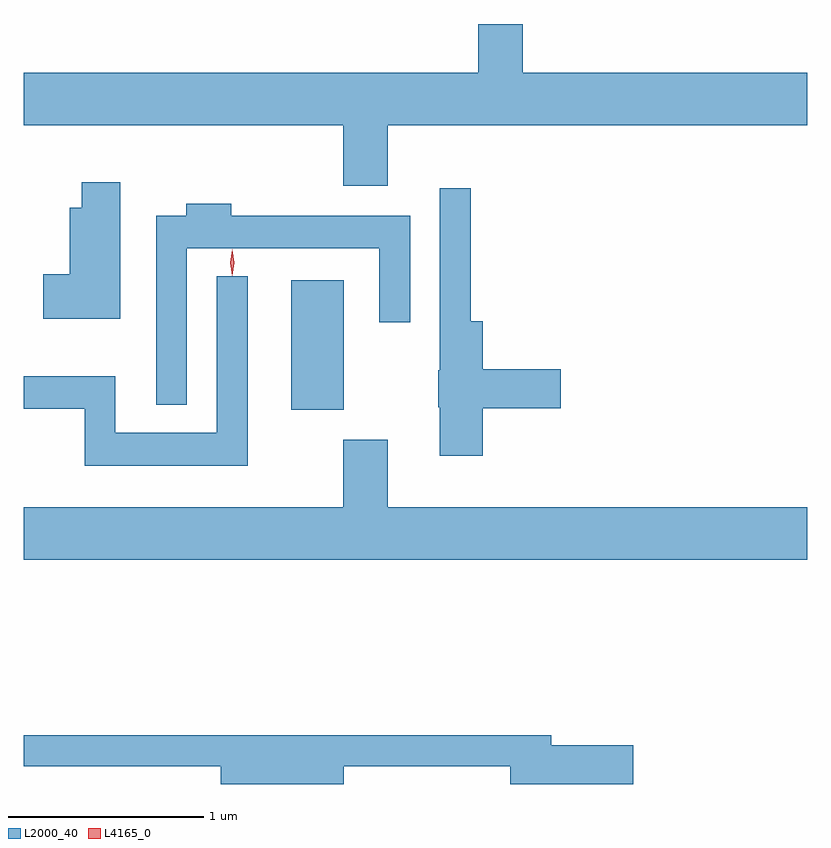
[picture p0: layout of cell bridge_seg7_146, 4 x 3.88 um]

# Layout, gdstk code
import gdstk
lib = gdstk.Library(unit=1e-6, precision=1e-09)
def R(c, l, rs):  # rectangles x0, y0, x1, y1
    for r in rs: c.add(gdstk.rectangle(r[:2], r[2:], *l))
def P(c, l, *ps):  # polygons
    for p in ps: c.add(gdstk.Polygon(p, *l))
L2000_40 = (2000, 40)
L4165_0 = (4165, 0)

bridge_seg7_146 = lib.new_cell('bridge_seg7_146')
R(bridge_seg7_146, L2000_40, [(1480.656,1719.521,1480.924,1720.184)])
P(bridge_seg7_146, L2000_40, [(1481.149,1720.976),(1483.291,1720.976),(1483.291,1721.244),(1481.839,1721.244),(1481.839,1721.492),(1481.611,1721.492),(1481.611,1721.244),(1479.291,1721.244),(1479.291,1720.976),(1480.921,1720.976),(1480.921,1720.666),(1481.149,1720.666)],
  [(1479.784,1720.684),(1479.586,1720.684),(1479.586,1720.554),(1479.526,1720.554),(1479.526,1720.214),(1479.391,1720.214),(1479.391,1719.986),(1479.784,1719.986)],
  [(1481.634,1719.531),(1482.034,1719.531),(1482.034,1719.729),(1481.634,1719.729),(1481.634,1719.974),(1481.574,1719.974),(1481.574,1720.653),(1481.416,1720.653),(1481.416,1719.725),(1481.406,1719.725),(1481.406,1719.535),(1481.416,1719.535),(1481.416,1719.286),(1481.634,1719.286)],
  [(1480.124,1720.346),(1481.106,1720.346),(1481.106,1719.968),(1481.264,1719.968),(1481.264,1720.514),(1480.349,1720.514),(1480.349,1720.574),(1480.121,1720.574),(1480.121,1720.514),(1479.966,1720.514),(1479.966,1719.548),(1480.124,1719.548)],
  [(1480.434,1720.203),(1480.276,1720.203),(1480.276,1719.404),(1479.759,1719.404),(1479.759,1719.694),(1479.291,1719.694),(1479.291,1719.526),(1479.601,1719.526),(1479.601,1719.236),(1480.434,1719.236)],
  [(1483.291,1719.024),(1481.149,1719.024),(1481.149,1719.369),(1480.921,1719.369),(1480.921,1719.024),(1479.291,1719.024),(1479.291,1718.756),(1483.291,1718.756)],
  [(1480.924,1717.701),(1481.776,1717.701),(1481.776,1717.611),(1482.404,1717.611),(1482.404,1717.809),(1481.984,1717.809),(1481.984,1717.859),(1479.291,1717.859),(1479.291,1717.701),(1480.296,1717.701),(1480.296,1717.611),(1480.924,1717.611)])
P(bridge_seg7_146, L4165_0, [(1480.354,1720.207),(1480.345,1720.274),(1480.354,1720.34),(1480.355,1720.341),(1480.356,1720.34),(1480.365,1720.274),(1480.356,1720.207),(1480.355,1720.207)])

lib.write_gds('bridge_seg7_146.gds')
